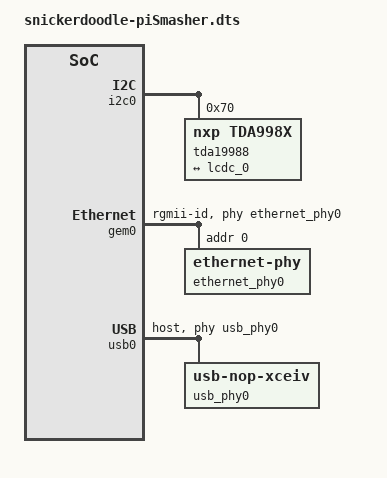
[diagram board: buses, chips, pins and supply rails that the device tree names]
/**
 * Copyright (c) 2016 krtkl inc.
 *
 * snickerdoodle piSmasher device tree source
 *
 * This program is free software; you can redistribute it and/or modify it
 * under the terms of the GNU General Public License version 2 as published by
 * the Free Software Foundation.
 */

/dts-v1/;
/include/ "snickerdoodle.dts";


&aliases {
	ethernet0	&gem0;
};

&i2c0 {
	status =		"okay";

	tda19988 {
		compatible =	"nxp,tda998x";
		reg =		<0x70>;
		port {
			hdmi_0: endpoint@0 {
				remote-endpoint = <&lcdc_0>;
			};
		};
	};
};

&gem0 {
	status =	"okay";
	phy-mode =	"rgmii-id";
	phy-handle =	<&ethernet_phy0>;

	ethernet_phy0: ethernet-phy@0 {
		reg =		<0x0>;
	};
};


&usb0 {
	status =	"okay";
	dr_mode =	"host";
	usb-phy = 	<&usb_phy0>;

        usb_phy0: phy0 {
                compatible =    "usb-nop-xceiv";
                #phy-cells =    <0>;
        };
};

/ {
	axi_vdma_0: axivdma@43000000 {
		compatible =		"xlnx,axi-vdma";
		#address-cells =	<0x1>;
		#size-cells =		<0x1>;
		#dma-cells =		<0x1>;
		#dma-channels =		<0x1>;
		reg =			<0x43000000 0x1000>;
		interrupt-parent =	<&intc>;
		xlnx,include-sg =	<0x0>;
		xlnx,num-fstores =	<0x3>;

		dma-channel@43000000 {
			compatible =		"xlnx,axi-vdma-mm2s-channel";
			interrupts =		<0x0 0x1d 0x4>;
			xlnx,datawidth =	<0x40>;
			xlnx,genlock-mode =	<0x0>;
			xlnx,include-dre =	<0x0>;
		};
	};

//	v_osd_0: vosd@40040000 {
//		compatible =		"xlnx,v-osd-5.01.a";
//		reg =			<0x40040000 0x10000>;
//		xlnx,num-layers =	<0x2>;
//		xlnx,screen-width =	<0x780>;
//	};
};
